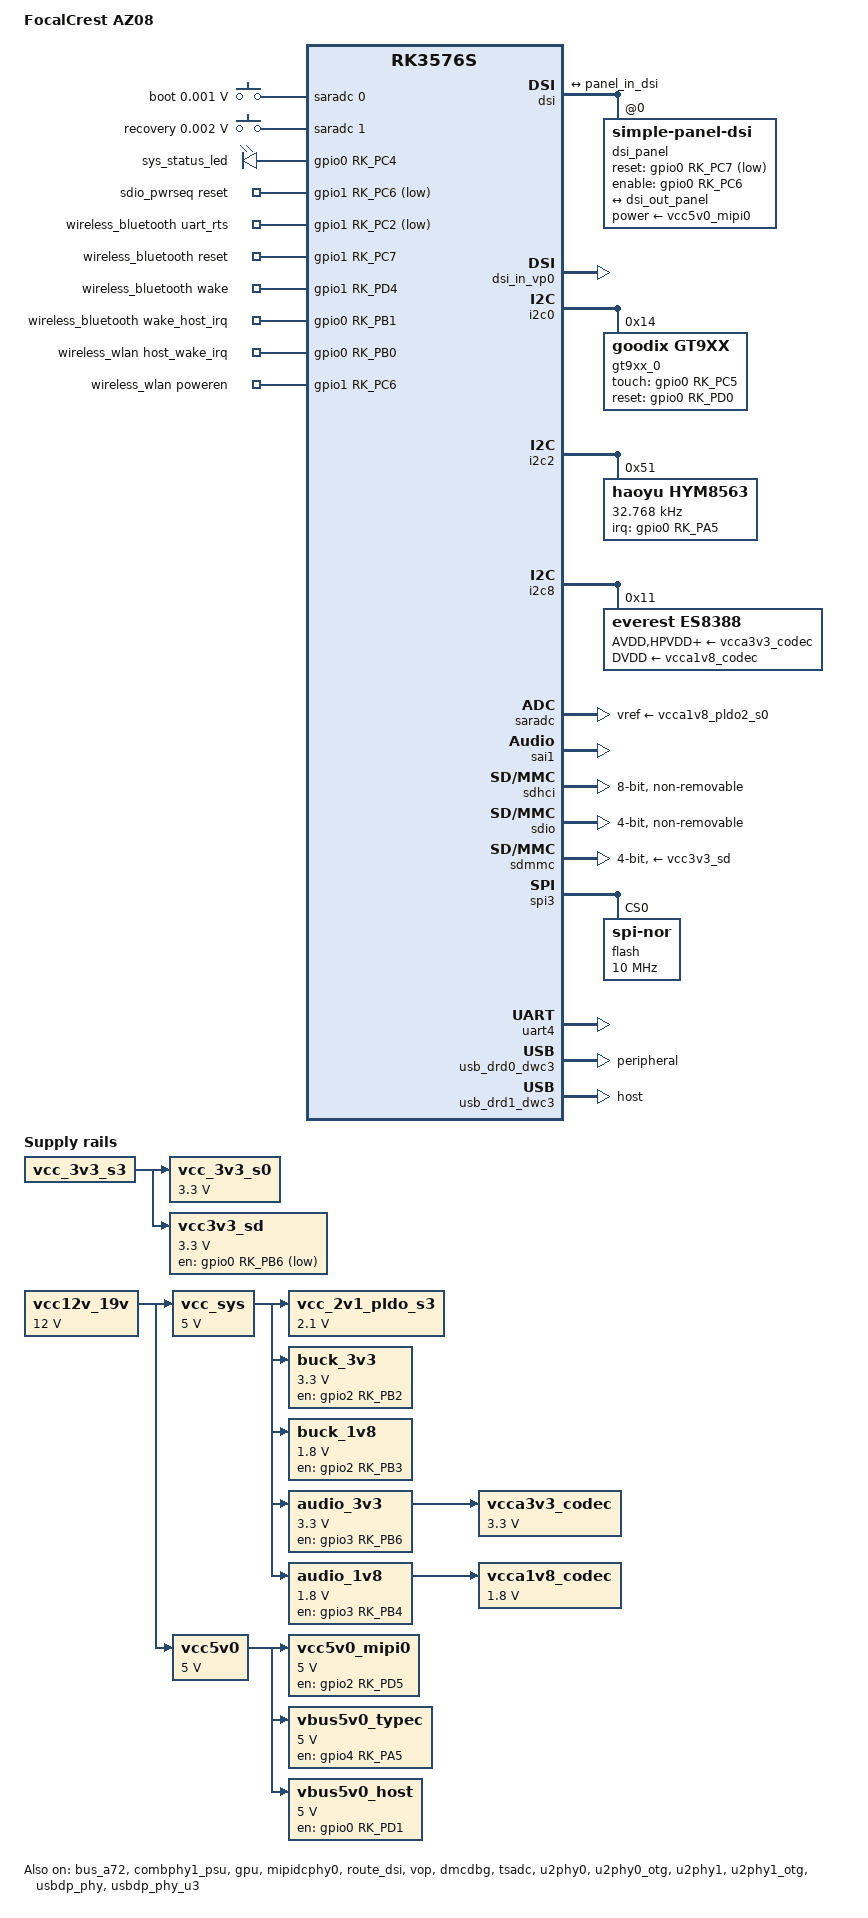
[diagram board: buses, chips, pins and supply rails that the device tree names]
// SPDX-License-Identifier: (GPL-2.0+ OR MIT)
/*
 * Copyright (c) 2026 Rockchip Electronics Co., Ltd.
 * Copyright (c) 2026 Focalcrest Co., Ltd.
 */

/dts-v1/;

#include <dt-bindings/gpio/gpio.h>
#include <dt-bindings/input/rk-input.h>
#include <dt-bindings/pinctrl/rockchip.h>
#include <dt-bindings/display/drm_mipi_dsi.h>
#include <dt-bindings/display/media-bus-format.h>
#include "rk3576s.dtsi"
#include "rk3576-rk806.dtsi"
#include "rk3576-linux.dtsi"

/ {
	model = "FocalCrest AZ08";
	compatible = "rockchip,rk3576s-focalcrest-az08", "rockchip,rk3576s";

	boot_key: boot-key {
		compatible = "adc-keys";
		io-channels = <&saradc 0>;
		io-channel-names = "buttons";
		keyup-threshold-microvolt = <1800000>;
		poll-interval = <100>;

		boot {
			label = "boot";
			linux,code = <KEY_1>;
			press-threshold-microvolt = <1000>;
		};
	};

	recovery_key: recovery-key {
		compatible = "adc-keys";
		io-channels = <&saradc 1>;
		io-channel-names = "buttons";
		keyup-threshold-microvolt = <1800000>;
		poll-interval = <100>;

		recovery {
			label = "recovery";
			linux,code = <KEY_2>;
			press-threshold-microvolt = <2000>;
		};
	};

	es8388_sound: es8388-sound {
		status = "okay";
		compatible = "rockchip,multicodecs-card";
		rockchip,card-name = "rockchip-es8388";
		rockchip,format = "i2s";
		rockchip,mclk-fs = <256>;
		rockchip,cpu = <&sai1>;
		rockchip,codec = <&es8388>;
		rockchip,audio-routing =
			"Headphone", "LOUT1",
			"Headphone", "ROUT1",
			"Speaker", "LOUT2",
			"Speaker", "ROUT2",
			"LINPUT1", "Main Mic",
			"LINPUT2", "Main Mic";
	};

	leds {
		compatible = "gpio-leds";
		status = "okay";

		sys_status_led: sys-status-led {
			label = "sys_status_led";
			linux,default-trigger = "heartbeat";
			gpios = <&gpio0 RK_PC4 GPIO_ACTIVE_HIGH>;
			pinctrl-names = "default";
			pinctrl-0 = <&sys_status_led_pin>;
		};
	};

	sdio_pwrseq: sdio-pwrseq {
		compatible = "mmc-pwrseq-simple";
		clocks = <&xin32k>;
		clock-names = "ext_clock";
		pinctrl-names = "default";
		pinctrl-0 = <&wifi_poweren_gpio &clk1_32k_pins>;
		post-power-on-delay-ms = <200>;
		reset-gpios = <&gpio1 RK_PC6 GPIO_ACTIVE_LOW>;
	};

	vcc12v_19v: vcc12v-19v {
		compatible = "regulator-fixed";
		regulator-name = "vcc12v_19v";
		regulator-always-on;
		regulator-boot-on;
		regulator-min-microvolt = <12000000>;
		regulator-max-microvolt = <12000000>;
	};

	vcc_sys: vcc-sys {
		compatible = "regulator-fixed";
		regulator-name = "vcc_sys";
		regulator-always-on;
		regulator-boot-on;
		regulator-min-microvolt = <5000000>;
		regulator-max-microvolt = <5000000>;
		vin-supply = <&vcc12v_19v>;
	};

	vcc5v0: vcc5v0 {
		compatible = "regulator-fixed";
		regulator-name = "vcc5v0";
		regulator-always-on;
		regulator-boot-on;
		regulator-min-microvolt = <5000000>;
		regulator-max-microvolt = <5000000>;
		vin-supply = <&vcc12v_19v>;
	};

	vcc_2v1_pldo_s3: vcc-2v1-pldo-s3 {
		compatible = "regulator-fixed";
		regulator-name = "vcc_2v1_pldo_s3";
		regulator-boot-on;
		regulator-always-on;
		regulator-min-microvolt = <2100000>;
		regulator-max-microvolt = <2100000>;
		vin-supply = <&vcc_sys>;
	};

	vcc_3v3_s0: vcc-3v3-s0 {
		compatible = "regulator-fixed";
		regulator-name = "vcc_3v3_s0";
		regulator-boot-on;
		regulator-always-on;
		regulator-min-microvolt = <3300000>;
		regulator-max-microvolt = <3300000>;
		vin-supply = <&vcc_3v3_s3>;
	};

	buck_3v3: buck-3v3 {
		compatible = "regulator-fixed";
		regulator-name = "buck_3v3";
		regulator-boot-on;
		regulator-always-on;
		regulator-min-microvolt = <3300000>;
		regulator-max-microvolt = <3300000>;
		enable-active-high;
		gpio = <&gpio2 RK_PB2 GPIO_ACTIVE_HIGH>;
		pinctrl-names = "default";
		pinctrl-0 = <&buck_3v3_en>;
		vin-supply = <&vcc_sys>;
	};

	buck_1v8: buck-1v8 {
		compatible = "regulator-fixed";
		regulator-name = "buck_1v8";
		regulator-boot-on;
		regulator-always-on;
		regulator-min-microvolt = <1800000>;
		regulator-max-microvolt = <1800000>;
		enable-active-high;
		gpio = <&gpio2 RK_PB3 GPIO_ACTIVE_HIGH>;
		pinctrl-names = "default";
		pinctrl-0 = <&buck_1v8_en>;
		vin-supply = <&vcc_sys>;
	};

	audio_3v3: audio-3v3 {
		compatible = "regulator-fixed";
		regulator-name = "audio_3v3";
		regulator-min-microvolt = <3300000>;
		regulator-max-microvolt = <3300000>;
		regulator-boot-on;
		regulator-always-on;
		enable-active-high;
		gpio = <&gpio3 RK_PB6 GPIO_ACTIVE_HIGH>;
		pinctrl-names = "default";
		pinctrl-0 = <&audio_3v3_en>;
		vin-supply = <&vcc_sys>;
	};

	audio_1v8: audio-1v8 {
		compatible = "regulator-fixed";
		regulator-name = "audio_1v8";
		regulator-min-microvolt = <1800000>;
		regulator-max-microvolt = <1800000>;
		regulator-boot-on;
		regulator-always-on;
		enable-active-high;
		gpio = <&gpio3 RK_PB4 GPIO_ACTIVE_HIGH>;
		pinctrl-names = "default";
		pinctrl-0 = <&audio_1v8_en>;
		vin-supply = <&vcc_sys>;
	};

	vcca3v3_codec: vcca3v3-codec {
		compatible = "regulator-fixed";
		regulator-name = "vcca3v3_codec";
		regulator-min-microvolt = <3300000>;
		regulator-max-microvolt = <3300000>;
		regulator-boot-on;
		regulator-always-on;
		vin-supply = <&audio_3v3>;
	};

	vcca1v8_codec: vcca1v8-codec {
		compatible = "regulator-fixed";
		regulator-name = "vcca1v8_codec";
		regulator-min-microvolt = <1800000>;
		regulator-max-microvolt = <1800000>;
		regulator-boot-on;
		regulator-always-on;
		vin-supply = <&audio_1v8>;
	};

	vcc5v0_mipi0: vcc5v0-mipi0 {
		compatible = "regulator-fixed";
		regulator-name = "vcc5v0_mipi0";
		regulator-min-microvolt = <5000000>;
		regulator-max-microvolt = <5000000>;
		enable-active-high;
		regulator-boot-on;
		regulator-always-on;
		gpio = <&gpio2 RK_PD5 GPIO_ACTIVE_HIGH>;
		pinctrl-names = "default";
		pinctrl-0 = <&mipi0_5v_en>;
		vin-supply = <&vcc5v0>;
	};

	vcc3v3_sd: vcc3v3-sd {
		compatible = "regulator-fixed";
		regulator-name = "vcc3v3_sd";
		regulator-min-microvolt = <3300000>;
		regulator-max-microvolt = <3300000>;
		enable-active-low;
		regulator-boot-on;
		regulator-always-on;
		gpio = <&gpio0 RK_PB6 GPIO_ACTIVE_LOW>;
		vin-supply = <&vcc_3v3_s3>;
	};

	vbus5v0_typec: vbus5v0-typec {
		compatible = "regulator-fixed";
		regulator-name = "vbus5v0_typec";
		regulator-min-microvolt = <5000000>;
		regulator-max-microvolt = <5000000>;
		enable-active-high;
		gpio = <&gpio4 RK_PA5 GPIO_ACTIVE_HIGH>;
		pinctrl-names = "default";
		pinctrl-0 = <&usb_otg0_pwren>;
		vin-supply = <&vcc5v0>;
	};

	vbus5v0_host: vbus5v0-host {
		compatible = "regulator-fixed";
		regulator-name = "vbus5v0_host";
		regulator-min-microvolt = <5000000>;
		regulator-max-microvolt = <5000000>;
		enable-active-high;
		gpio = <&gpio0 RK_PD1 GPIO_ACTIVE_HIGH>;
		pinctrl-names = "default";
		pinctrl-0 = <&usb_otg1_pwren>;
		vin-supply = <&vcc5v0>;
	};

	wireless_bluetooth: wireless-bluetooth {
		compatible = "bluetooth-platdata";
		bt_port = "/dev/ttyS4";
		uart_rts_gpios = <&gpio1 RK_PC2 GPIO_ACTIVE_LOW>;
		pinctrl-names = "default", "rts_gpio";
		pinctrl-0 = <&uart4m1_rtsn>;
		pinctrl-1 = <&uart4_gpios>;
		BT,reset_gpio = <&gpio1 RK_PC7 GPIO_ACTIVE_HIGH>;
		BT,wake_gpio = <&gpio1 RK_PD4 GPIO_ACTIVE_HIGH>;
		BT,wake_host_irq = <&gpio0 RK_PB1 GPIO_ACTIVE_HIGH>;
		status = "okay";
	};

	wireless_wlan: wireless-wlan {
		compatible = "wlan-platdata";
		wifi_chip_type = "ap6256";
		pinctrl-names = "default";
		pinctrl-0 = <&wifi_host_wake_irq>;
		WIFI,host_wake_irq = <&gpio0 RK_PB0 GPIO_ACTIVE_HIGH>;
		WIFI,poweren_gpio = <&gpio1 RK_PC6 GPIO_ACTIVE_HIGH>;
		status = "okay";
	};
};


&bus_a72 {
	bus-supply = <&vdd_logic_s0>;
	pvtm-supply = <&vdd_logic_s0>;
	status = "okay";
};

&combphy1_psu {
	status = "okay";
};

&cpu_l0 {
	cpu-supply = <&vdd_cpu_lit_s0>;
};

&cpu_b0 {
	cpu-supply = <&vdd_cpu_big_s0>;
};

&gpu {
	mali-supply = <&vdd_gpu_s0>;
	status = "okay";
};

&dsi {
	status = "okay";
	rockchip,lane-rate = <348>;

	dsi_panel: panel@0 {
		status = "okay";
		compatible = "simple-panel-dsi";
		reg = <0>;
		power-supply = <&vcc5v0_mipi0>;
		reset-gpios  = <&gpio0 RK_PC7 GPIO_ACTIVE_LOW>;
		enable-gpios = <&gpio0 RK_PC6 GPIO_ACTIVE_HIGH>;
		pinctrl-names = "default";
		pinctrl-0 = <&mipi0_lcd_ctrl>;
		bpc = <8>;
		bus-format = <MEDIA_BUS_FMT_RGB888_1X24>;
		prepare-delay-ms = <0>;
		reset-delay-ms = <0>;
		init-delay-ms = <0>;
		enable-delay-ms = <0>;
		disable-delay-ms = <0>;
		unprepare-delay-ms = <0>;
		width-mm = <154>;
		height-mm = <86>;
		dsi,flags = <(MIPI_DSI_MODE_VIDEO | MIPI_DSI_MODE_VIDEO_BURST |
			      MIPI_DSI_MODE_LPM)>;
		dsi,format = <MIPI_DSI_FMT_RGB888>;
		dsi,lanes = <4>;

		panel-init-sequence = [
			05 78 01 11
			05 1E 01 29
		];

		panel-exit-sequence = [
			05 00 01 28
			05 00 01 10
		];

		display-timings {
			native-mode = <&timing0>;
			timing0: timing0 {
				clock-frequency = <52000000>;
				hactive = <1024>;
				vactive = <600>;
				hfront-porch = <150>;
				hsync-len = <30>;
				hback-porch = <150>;
				vfront-porch = <10>;
				vsync-len = <20>;
				vback-porch = <10>;
				hsync-active = <0>;
				vsync-active = <0>;
				de-active = <0>;
				pixelclk-active = <1>;
			};
		};

		ports {
			#address-cells = <1>;
			#size-cells = <0>;

			port@0 {
				reg = <0>;
				panel_in_dsi: endpoint {
					remote-endpoint = <&dsi_out_panel>;
				};
			};
		};
	};

	ports {
		#address-cells = <1>;
		#size-cells = <0>;

		port@1 {
			reg = <1>;
			dsi_out_panel: endpoint {
				remote-endpoint = <&panel_in_dsi>;
			};
		};
	};
};

&mipidcphy0 {
	status = "okay";
};

&dsi_in_vp0 {
	status = "okay";
};

&route_dsi {
	status = "okay";
	connect = <&vp0_out_dsi>;
};

&vop {
	status = "okay";
	vop-supply = <&vdd_logic_s0>;
};

&vop_mmu {
	status = "okay";
};

&rk806 {
	pinctrl-names = "default", "pmic-power-off";
	pinctrl-0 = <&pmic_pins>, <&rk806_dvs1_null>, <&rk806_dvs2_null>, <&rk806_dvs3_null>;
	pinctrl-1 = <&rk806_dvs1_pwrdn>;

	vcc11-supply = <&vcc_2v1_pldo_s3>;
	vcc13-supply = <&vcc_2v1_pldo_s3>;
	vcc14-supply = <&vcc_2v1_pldo_s3>;

	pwron-on-time-500ms;
};

&i2c0 {
	pinctrl-names = "default";
	pinctrl-0 = <&i2c0m1_xfer>;
	status = "okay";

        gt9xx_0: gt9xx-0@14 {
                compatible = "goodix,gt9xx";
                reg = <0x14>;
                pinctrl-names = "default";
                pinctrl-0 = <&tp0_int>;
                touch-gpio = <&gpio0 RK_PC5 GPIO_ACTIVE_HIGH>;
                reset-gpio = <&gpio0 RK_PD0 GPIO_ACTIVE_HIGH>;
                max-x = <4096>;
                max-y = <4096>;
                tp-size = <910>;
        };
};

&i2c2 {
	pinctrl-names = "default";
	pinctrl-0 = <&i2c2m0_xfer>;
	status = "okay";

	hym8563: hym8563@51 {
		compatible = "haoyu,hym8563";
		reg = <0x51>;
		#clock-cells = <0>;
		clock-frequency = <32768>;
		clock-output-names = "hym8563";
		pinctrl-names = "default";
		pinctrl-0 = <&hym8563_int>;
		interrupt-parent = <&gpio0>;
		interrupts = <RK_PA5 IRQ_TYPE_LEVEL_LOW>;
		wakeup-source;
	};
};

&i2c8 {
	pinctrl-names = "default";
	pinctrl-0 = <&i2c8m3_xfer>;
	status = "okay";

	es8388: es8388@11 {
		status = "okay";
		#sound-dai-cells = <0>;
		compatible = "everest,es8388", "everest,es8323";
		reg = <0x11>;
		clocks = <&mclkout_sai1>;
		clock-names = "mclk";
		assigned-clocks = <&mclkout_sai1>;
		assigned-clock-rates = <12288000>;
		AVDD-supply = <&vcca3v3_codec>;
		DVDD-supply = <&vcca1v8_codec>;
		HPVDD-supply = <&vcca3v3_codec>;
		PVDD-supply = <&vcca3v3_codec>;
	};
};

&pinctrl {
	pinctrl-names = "default";
	pinctrl-0 = <&gpio_loopback_pu>;

	gpio-loopback {
		gpio_loopback_pu: gpio-loopback-pu {
			rockchip,pins =
				<2 RK_PB1 RK_FUNC_GPIO &pcfg_pull_up>,
				<2 RK_PC2 RK_FUNC_GPIO &pcfg_pull_up>,
				<2 RK_PC3 RK_FUNC_GPIO &pcfg_pull_up>;
		};
	};

	rtc {
		hym8563_int: hym8563-int {
			rockchip,pins = <0 RK_PA5 RK_FUNC_GPIO &pcfg_pull_up>;
		};
	};

	power {
		buck_3v3_en: buck-3v3-en {
			rockchip,pins = <2 RK_PB2 RK_FUNC_GPIO &pcfg_pull_none>;
		};

		buck_1v8_en: buck-1v8-en {
			rockchip,pins = <2 RK_PB3 RK_FUNC_GPIO &pcfg_pull_none>;
		};

		audio_3v3_en: audio-3v3-en {
			rockchip,pins = <3 RK_PB6 RK_FUNC_GPIO &pcfg_pull_none>;
		};

		audio_1v8_en: audio-1v8-en {
			rockchip,pins = <3 RK_PB4 RK_FUNC_GPIO &pcfg_pull_none>;
		};

		mipi0_5v_en: mipi0-5v-en {
			rockchip,pins = <2 RK_PD5 RK_FUNC_GPIO &pcfg_pull_none>;
		};
	};

	mipi0 {
		mipi0_lcd_ctrl: mipi0-lcd-ctrl {
			rockchip,pins = <0 RK_PC6 RK_FUNC_GPIO &pcfg_pull_none>,
					<0 RK_PC7 RK_FUNC_GPIO &pcfg_pull_none>;
		};
	};

	leds {
		sys_status_led_pin: sys-status-led-pin {
			rockchip,pins = <0 RK_PC4 RK_FUNC_GPIO &pcfg_pull_none>;
		};
	};

	usb {
		usb_otg0_pwren: usb-otg0-pwren {
			rockchip,pins = <4 RK_PA5 RK_FUNC_GPIO &pcfg_pull_none>;
		};

		usb_otg1_pwren: usb-otg1-pwren {
			rockchip,pins = <0 RK_PD1 RK_FUNC_GPIO &pcfg_pull_none>;
		};
	};

	wireless-bluetooth {
		uart4_gpios: uart4-gpios {
			rockchip,pins = <1 RK_PC2 RK_FUNC_GPIO &pcfg_pull_none>;
		};
	};

	wireless-wlan {
		wifi_host_wake_irq: wifi-host-wake-irq {
			rockchip,pins = <0 RK_PB0 RK_FUNC_GPIO &pcfg_pull_down>;
		};

		wifi_poweren_gpio: wifi-poweren-gpio {
			rockchip,pins = <1 RK_PC6 RK_FUNC_GPIO &pcfg_pull_up>;
		};
	};
        tp {
                tp0_int: tp0-int {
                        rockchip,pins = <0 RK_PC5 RK_FUNC_GPIO &pcfg_pull_up>;
                };

        };
};

&dmcdbg {
        status = "okay";
};

&saradc {
	status = "okay";
	vref-supply = <&vcca1v8_pldo2_s0>;
};

&sai1 {
	pinctrl-names = "default";
	pinctrl-0 = <&sai1m1_mclk
		     &sai1m1_lrck
		     &sai1m1_sclk
		     &sai1m1_sdi0
		     &sai1m1_sdo0>;
	status = "okay";
};

&sdhci {
	bus-width = <8>;
	no-sdio;
	no-sd;
	non-removable;
	max-frequency = <200000000>;
	mmc-hs400-1_8v;
	mmc-hs400-enhanced-strobe;
	full-pwr-cycle-in-suspend;
	status = "okay";
};


&sdio {
	bus-width = <4>;
	supports-sdio;
	cap-sd-highspeed;
	cap-sdio-irq;
	keep-power-in-suspend;
	mmc-pwrseq = <&sdio_pwrseq>;
	non-removable;
	pinctrl-names = "default";
	pinctrl-0 = <&sdmmc1m0_bus4 &sdmmc1m0_clk &sdmmc1m0_cmd>;
	status = "okay";
};

&sdmmc {
	pinctrl-names = "default";
	pinctrl-0 = <&sdmmc0_clk &sdmmc0_cmd &sdmmc0_det &sdmmc0_bus4>;
	max-frequency = <200000000>;
	no-sdio;
	no-mmc;
	bus-width = <4>;
	cap-mmc-highspeed;
	cap-sd-highspeed;
	disable-wp;
	sd-uhs-sdr104;
	vmmc-supply = <&vcc3v3_sd>;
	vqmmc-supply = <&vccio_sd_s0>;
	status = "okay";
};

&spi3 {
	pinctrl-names = "default";
	pinctrl-0 = <&spi3m2_csn0 &spi3m2_csn1 &spi3m2_pins>;
	status = "okay";

        flash@0 {
                compatible = "jedec,spi-nor";
                reg = <0>;
                spi-max-frequency = <10000000>;
                #address-cells = <1>;
                #size-cells    = <1>;
        };
};

&tsadc {
	status = "okay";
};

&u2phy0 {
	status = "okay";
};

&u2phy0_otg {
	status = "okay";
};

&u2phy1 {
	status = "okay";
};

&u2phy1_otg {
	phy-supply = <&vbus5v0_host>;
	status = "okay";
};

&uart4 {
	pinctrl-names = "default";
	pinctrl-0 = <&uart4m1_xfer &uart4m1_ctsn>;
	status = "okay";
};

&ufs {
	status = "disabled";
};

&usbdp_phy {
	status = "okay";
};

&usbdp_phy_u3 {
	status = "okay";
};

&usb_drd0_dwc3 {
	dr_mode = "peripheral";
	extcon = <&u2phy0>;
	status = "okay";
};

&usb_drd1_dwc3 {
	dr_mode = "host";
	status = "okay";
};

&rockchip_suspend {
	status = "okay";
	rockchip,sleep-debug-en = <1>;
	rockchip,sleep-mode-config = <
		(0
		| RKPM_SLP_ARMOFF_LOGOFF
		| RKPM_SLP_PMU_PMUALIVE_32K
		| RKPM_SLP_PMIC_LP
		)
	>;
	rockchip,wakeup-config = <
		(0
		| RKPM_GPIO_WKUP_EN
		| RKPM_CPU0_WKUP_EN
		)
	>;
	rockchip,regulator-on-before-mem = <&vdd_npu_s0>;
};
